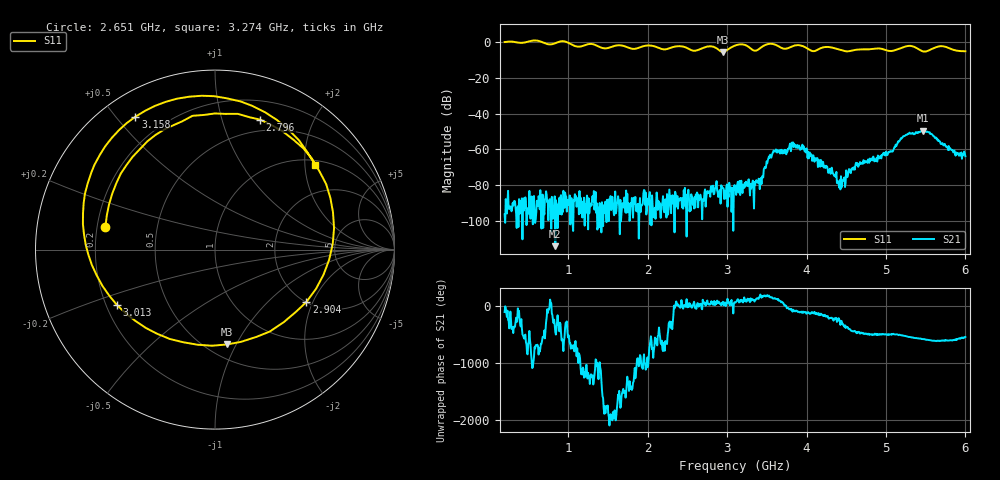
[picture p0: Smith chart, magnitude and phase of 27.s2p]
! NanoVNA-App
! Date: 2024-06-25 16:11:43
! Start: 200MHz Stop: 6GHz Points: 801
! S-Parameter data: F S11 S21 S12 S22
# Hz S RI R 50
!  Frequency  S11_Real  S11_Imag  S21_Real  S21_Imag  S12_Real  S12_Imag  S22_Real  S22_Imag
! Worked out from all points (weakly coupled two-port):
!   801 points, 200 MHz to 6 GHz, reference 50 ohm
!   highest |S21| = -49.50 dB at 5.471 GHz (marker M1); lowest = -114.1 dB at 838 MHz (marker M2)
!   lowest |S11| = -5.5 dB at 2.948 GHz (marker M3), VSWR 3.28, Z = 31 - j45.8 ohm
!   |S11| at or under -10 dB: nowhere
!   S12 and S22 are empty: the file has one direction only
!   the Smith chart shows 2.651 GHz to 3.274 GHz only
!   S11 on the Smith chart (normalised r, x): 2.651 GHz: 0.23, +0.10; 2.796 GHz: 0.38, +1.34; 2.904 GHz: 2.01, -1.79; 3.013 GHz: 0.24, -0.25; 3.158 GHz: 0.10, +0.56; 3.274 GHz: 1.13, +2.27
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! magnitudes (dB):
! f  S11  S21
! 200 MHz  0.0  -96.3
! 838 MHz  -0.6  -114.1
! 1.171 GHz  -2.3  -89.6
! 2.136 GHz  -3.1  -88.8
! 2.651 GHz  -4.1  -88.4
! 2.796 GHz  -2.3  -81.2
! 2.904 GHz  -4.6  -82.8
! 2.948 GHz  -5.5  -81.7
! 3.013 GHz  -4.0  -84.8
! 3.1 GHz  -1.9  -82.6
! 3.158 GHz  -1.3  -77.6
! 3.274 GHz  -2.7  -76.7
! 3.426 GHz  -3.0  -75.9
! 3.607 GHz  -1.4  -61.3
! 3.847 GHz  -1.9  -57.1
! 4.072 GHz  -5.0  -66.4
! 4.412 GHz  -4.2  -81.4
! 4.644 GHz  -4.2  -68.5
! 5.036 GHz  -4.9  -61.5
! 5.239 GHz  -2.5  -52.4
! 5.471 GHz  -5.2  -49.5
! 6 GHz  -5.1  -63.9
